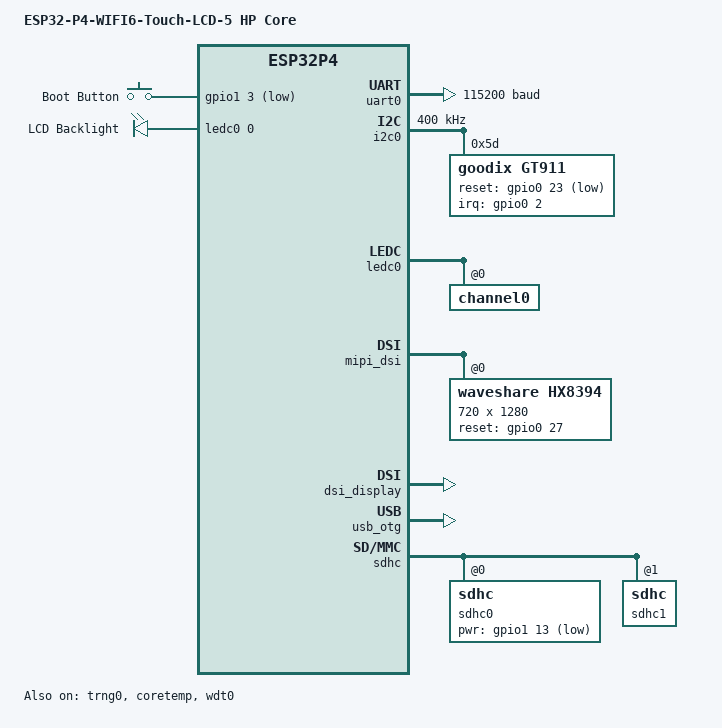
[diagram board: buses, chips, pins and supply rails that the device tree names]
/*
 * Copyright (c) 2026 Hongquan Li
 *
 * SPDX-License-Identifier: Apache-2.0
 */

/dts-v1/;

#include <espressif/esp32p4/esp32p4_n32r32.dtsi>
#include "esp32p4_wifi6_touch_lcd_5_esp32p4_hpcore-pinctrl.dtsi"
#include <zephyr/dt-bindings/input/input-event-codes.h>
#include <zephyr/dt-bindings/display/panel.h>
#include <zephyr/dt-bindings/mipi_dsi/mipi_dsi.h>
#include <zephyr/dt-bindings/pwm/pwm.h>
#include <espressif/partitions_0x2000_default_32M.dtsi>

/ {
	model = "ESP32-P4-WIFI6-Touch-LCD-5 HP Core";
	compatible = "espressif,esp32p4";

	chosen {
		zephyr,sram = &sramhp;
		zephyr,console = &uart0;
		zephyr,shell-uart = &uart0;
		zephyr,flash = &flash0;
		zephyr,code-partition = &slot0_partition;
		zephyr,display = &dsi_display;
		zephyr,touch = &gt911;
		zephyr,bt-hci = &esp_hosted_mcu_hci;
	};

	aliases {
		sdhc0 = &sdhc0;
		sw0 = &boot_button;
		watchdog0 = &wdt0;
		pwm-led0 = &lcd_backlight;
	};

	gpio_keys {
		compatible = "gpio-keys";

		boot_button: button {
			label = "Boot Button";
			gpios = <&gpio1 3 (GPIO_PULL_UP | GPIO_ACTIVE_LOW)>;
			zephyr,code = <INPUT_KEY_0>;
		};
	};

	pwmleds {
		compatible = "pwm-leds";

		/* The AP3032 LED driver is dimmed from the averaged PWM level, so
		 * the panel stays dark if GPIO26 is only held at a static level.
		 */
		lcd_backlight: lcd_backlight {
			label = "LCD Backlight";
			pwms = <&ledc0 0 PWM_HZ(5000) PWM_POLARITY_NORMAL>;
		};
	};

	lvgl_pointer {
		compatible = "zephyr,lvgl-pointer-input";
		input = <&gt911>;
	};
};

/* Pre-v3 (v1.3) silicon: valid CPU frequencies are 90/180/360 MHz */
&cpu0 {
	clock-frequency = <DT_FREQ_M(360)>;
};

&cpu1 {
	clock-frequency = <DT_FREQ_M(360)>;
};

&uart0 {
	status = "okay";
	current-speed = <115200>;
	pinctrl-0 = <&uart0_default>;
	pinctrl-names = "default";
};

&i2c0 {
	status = "okay";
	clock-frequency = <I2C_BITRATE_FAST>;
	pinctrl-0 = <&i2c0_default>;
	pinctrl-names = "default";

	gt911: touch-controller@5d {
		compatible = "goodix,gt911";
		status = "okay";
		reg = <0x5d>;
		/* TP_RST reaches GPIO23 through R37, but TP_INT only reaches
		 * GPIO2 when the optional R108 is populated. The INT level at
		 * reset is therefore not ours to choose, so the address the
		 * controller latched is probed instead of being forced. GPIO2
		 * is also on the 40-pin header: nothing else may drive it.
		 */
		reset-gpios = <&gpio0 23 GPIO_ACTIVE_LOW>;
		irq-gpios = <&gpio0 2 GPIO_ACTIVE_HIGH>;
		alt-addr = <0x14>;
		screen-width = <720>;
		screen-height = <1280>;
	};
};

&ledc0 {
	status = "okay";
	pinctrl-0 = <&ledc0_default>;
	pinctrl-names = "default";
	#address-cells = <1>;
	#size-cells = <0>;

	channel0@0 {
		reg = <0x0>;
		timer = <0>;
	};
};

&mipi_dsi {
	status = "okay";
	/* Panel rate is 2 lanes x 700 Mbit/s. The DPI clock is divided down
	 * from a fixed 240 MHz, so the 58 MHz the vendor driver asks for is
	 * actually driven at 60 MHz.
	 */
	phy-clock = <700000000>;
	dpi-clock-frequency = <58000000>;

	hx8394: panel-controller@0 {
		compatible = "waveshare,hx8394";
		reg = <0>;
		data-lanes = <2>;
		pixel-format = <MIPI_DSI_PIXFMT_RGB565>;
		width = <720>;
		height = <1280>;
		/* The panel resets on a high level, not the usual low one. */
		reset-gpios = <&gpio0 27 GPIO_ACTIVE_HIGH>;

		display-timings {
			compatible = "zephyr,panel-timing";
			hsync-len = <20>;
			hback-porch = <20>;
			hfront-porch = <40>;
			vsync-len = <4>;
			vback-porch = <10>;
			vfront-porch = <24>;
			hsync-active = <0>;
			vsync-active = <0>;
			de-active = <1>;
			pixelclk-active = <0>;
		};
	};
};

&dsi_display {
	status = "okay";
	pixel-format = <PANEL_PIXEL_FORMAT_RGB_565>;
	width = <720>;
	height = <1280>;
};

&i2s0 {
	status = "disabled";
	pinctrl-0 = <&i2s0_default>;
	pinctrl-names = "default";
};

&spi2 {
	status = "disabled";
};

&trng0 {
	status = "okay";
};

&coretemp {
	status = "okay";
};

&gpio0 {
	status = "okay";
};

&gpio1 {
	status = "okay";
};

&wdt0 {
	status = "okay";
};

&dma {
	status = "okay";
};

&dma_axi {
	status = "okay";
};

zephyr_udc0: &usb_otg {
	status = "okay";
};

&sdhc {
	sdhc0: sdhc@0 {
		status = "okay";
		bus-width = <4>;
		max-bus-freq = <40000000>;
		/* GPIO45: SD card power enable (active-low) */
		pwr-gpios = <&gpio1 13 GPIO_ACTIVE_LOW>;
		clk-pin = <43>;
		cmd-pin = <44>;
		d0-pin = <39>;
		d1-pin = <40>;
		d2-pin = <41>;
		d3-pin = <42>;

		mmc {
			compatible = "zephyr,sdmmc-disk";
			disk-name = "SD";
			status = "okay";
		};
	};

	/* ESP32-C6-MINI-1 running esp-hosted-mcu firmware. GPIO14..GPIO19 carry
	 * the SDIO link and GPIO54 drives C6_CHIP_PU.
	 */
	sdhc1: sdhc@1 {
		status = "okay";
		bus-width = <4>;
		max-bus-freq = <40000000>;
		clk-pin = <18>;
		cmd-pin = <19>;
		d0-pin = <14>;
		d1-pin = <15>;
		d2-pin = <16>;
		d3-pin = <17>;
		#address-cells = <1>;
		#size-cells = <0>;

		esp_hosted_mcu: esp-hosted-mcu@0 {
			compatible = "espressif,esp-hosted-mcu";
			reg = <0>;
			reset-gpios = <&gpio1 22 GPIO_ACTIVE_HIGH>;
			status = "okay";

			esp_hosted_mcu_wifi: wifi {
				compatible = "espressif,esp-hosted-mcu-wifi";
				status = "okay";
			};

			esp_hosted_mcu_hci: bt-hci {
				compatible = "espressif,esp-hosted-mcu-bt-hci";
				status = "okay";
			};
		};
	};
};

&ldo {
	status = "okay";

	ldo1@1 {
		reg = <1>;
		regulator-name = "ldo1";
		regulator-init-microvolt = <3300000>;
		regulator-boot-on;
		regulator-always-on;
	};

	ldo2@2 {
		reg = <2>;
		regulator-name = "ldo2";
		regulator-init-microvolt = <1800000>;
		regulator-boot-on;
		regulator-always-on;
	};

	/* LDO_VO3 supplies VDD_MIPI_DPHY; the D-PHY stays powered down
	 * without it and the panel never receives anything.
	 */
	ldo3@3 {
		reg = <3>;
		regulator-name = "ldo3";
		regulator-init-microvolt = <2500000>;
		regulator-boot-on;
		regulator-always-on;
	};

	ldo4@4 {
		reg = <4>;
		regulator-name = "ldo4";
		regulator-init-microvolt = <3300000>;
		regulator-boot-on;
		regulator-always-on;
	};
};
